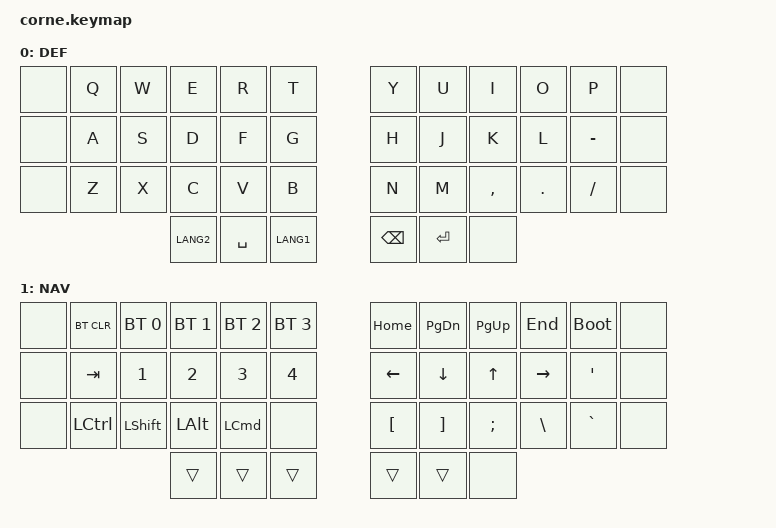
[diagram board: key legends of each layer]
/*
 * Corne Mini Keymap - Simple
 */

#include <behaviors.dtsi>
#include <dt-bindings/zmk/bt.h>
#include <dt-bindings/zmk/keys.h>
#include <dt-bindings/zmk/outputs.h>

#define DEF 0
#define NAV 1

/ {
    combos {
        compatible = "zmk,combos";
        combo_nav {
            timeout-ms = <50>;
            key-positions = <36 37>;
            bindings = <&mo NAV>;
        };
    };

    keymap {
        compatible = "zmk,keymap";

        DEF {
            bindings = <
&none  &kp Q  &kp W  &kp E  &kp R  &kp T    &kp Y  &kp U  &kp I      &kp O    &kp P      &none
&none  &kp A  &kp S  &kp D  &kp F  &kp G    &kp H  &kp J  &kp K      &kp L    &kp MINUS  &none
&none  &kp Z  &kp X  &kp C  &kp V  &kp B    &kp N  &kp M  &kp COMMA  &kp DOT  &kp FSLH   &none
                     &kp LANG2  &kp SPACE  &kp LANG1  &kp BSPC  &kp RET  &none
            >;
        };

        NAV {
            bindings = <
&none  &bt BT_CLR  &bt BT_SEL 0  &bt BT_SEL 1  &bt BT_SEL 2  &bt BT_SEL 3    &kp HOME  &kp PG_DN  &kp PG_UP  &kp END    &bootloader  &none
&none  &kp TAB     &kp N1        &kp N2        &kp N3        &kp N4          &kp LEFT  &kp DOWN   &kp UP     &kp RIGHT  &kp SQT      &none
&none  &kp LCTRL   &kp LSHFT     &kp LALT      &kp LCMD      &none           &kp LBKT  &kp RBKT   &kp SEMI   &kp BSLH   &kp GRAVE    &none
                                 &trans        &trans        &trans          &trans    &trans     &none
            >;
        };
    };
};
